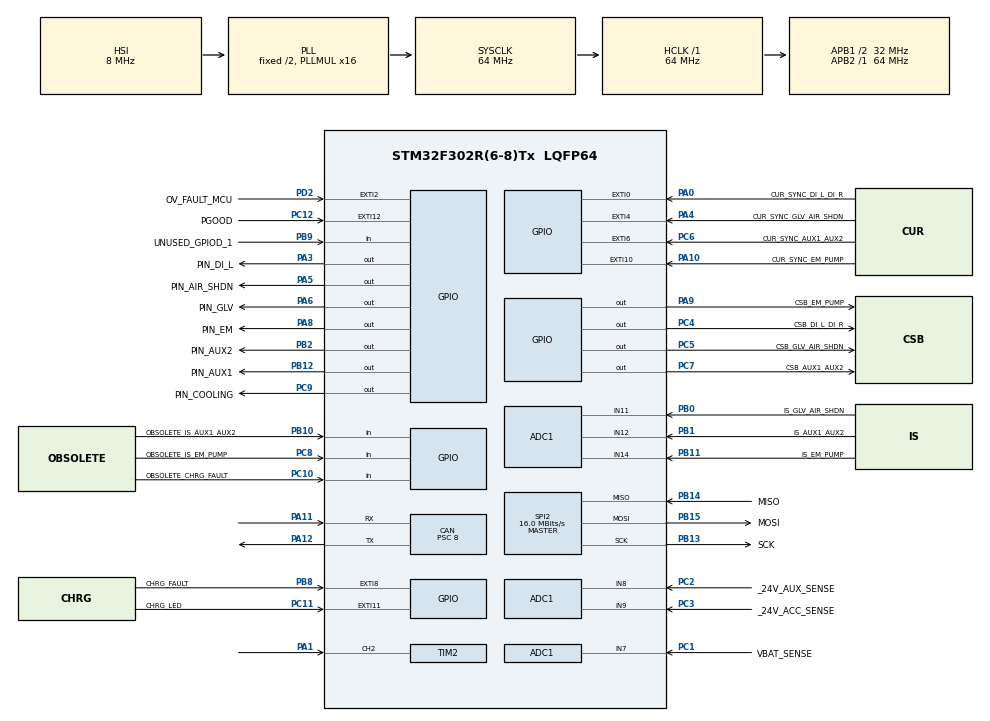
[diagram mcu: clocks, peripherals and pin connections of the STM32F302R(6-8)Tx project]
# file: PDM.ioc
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ADC1.Channel-7\#ChannelRegularConversion=ADC_CHANNEL_11
ADC1.NbrOfConversionFlag=1
ADC1.Offset-7\#ChannelRegularConversion=0
ADC1.OffsetNumber-7\#ChannelRegularConversion=ADC_OFFSET_NONE
ADC1.Rank-7\#ChannelRegularConversion=1
ADC1.SamplingTime-7\#ChannelRegularConversion=ADC_SAMPLETIME_1CYCLE_5
ADC1.SubFamily=STM32F302x8
ADC1.master=1
CAN.ABOM=ENABLE
CAN.BS1=CAN_BS1_6TQ
CAN.BS2=CAN_BS2_1TQ
CAN.CalculateTimeQuantum=250.0
CAN.NART=ENABLE
CAN.Prescaler=8
CAN.RFLM=ENABLE
CAN.SJW=CAN_SJW_4TQ
CAN.TXFP=ENABLE
FREERTOS.INCLUDE_uxTaskGetStackHighWaterMark=1
FREERTOS.INCLUDE_vTaskDelayUntil=1
FREERTOS.MEMORY_ALLOCATION=1
FREERTOS.Tasks01=Task1Hz,-2,128,RunTask1Hz,Default,NULL,Static,Task1HzBuffer,Task1HzControlBlock;Task1kHz,1,128,RunTask1kHz,Default,NULL,Static,Task1kHzBuffer,Task1kHzControlBlock;TaskCanRx,-2,128,RunTaskCanRx,Default,NULL,Static,TaskCanRxBuffer,TaskCanRxControlBlock;TaskCanTx,-2,128,RunTaskCanTx,Default,NULL,Static,TaskCanTxBuffer,TaskCanTxControlBlock
FREERTOS.configCHECK_FOR_STACK_OVERFLOW=2
FREERTOS.configUSE_MUTEXES=1
FREERTOS.configUSE_TIMERS=1
FREERTOS.configUSE_TRACE_FACILITY=1
IWDG.Reload=LSI_FREQUENCY / IWDG_PRESCALER / IWDG_RESET_FREQUENCY
IWDG.Window=IWDG_WINDOW_DISABLE_VALUE
Mcu.Family=STM32F3
Mcu.Name=STM32F302R(6-8)Tx
Mcu.Package=LQFP64
Mcu.UserConstants=IWDG_WINDOW_DISABLE_VALUE,4095;LSI_FREQUENCY,40000;IWDG_PRESCALER,4;IWDG_RESET_FREQUENCY,5;TIM2_FREQUENCY,64000000;TIM2_AUTO_RELOAD_REG,0xFFFF;TIM2_PWM_MINIMUM_FREQUENCY,1;TIM2_PRESCALER,TIM2_FREQUENCY / TIM2_AUTO_RELOAD_REG / TIM2_PWM_MINIMUM_FREQUENCY
NVIC.CAN_RX1_IRQn=true\:5\:0\:false\:false\:true\:true\:true\:true
NVIC.PriorityGroup=NVIC_PRIORITYGROUP_4
NVIC.TIM1_UP_TIM16_IRQn=true\:0\:0\:false\:false\:true\:false\:false\:true
NVIC.TIM2_IRQn=true\:5\:0\:false\:false\:true\:true\:true\:true
NVIC.TimeBase=TIM1_UP_TIM16_IRQn
NVIC.TimeBaseIP=TIM1
NVIC.USB_HP_CAN_TX_IRQn=true\:5\:0\:false\:false\:true\:true\:true\:true
NVIC.USB_LP_CAN_RX0_IRQn=true\:5\:0\:false\:false\:true\:true\:true\:true
PA0.GPIO_Label=CUR_SYNC_DI_L_DI_R
PA0.Signal=GPXTI0
PA1.Signal=S_TIM2_CH2
PA10.GPIO_Label=CUR_SYNC_EM_PUMP
PA10.Signal=GPXTI10
PA11.Mode=Master
PA11.Signal=CAN_RX
PA12.Mode=Master
PA12.Signal=CAN_TX
PA13.Mode=Trace_Asynchronous_SW
PA13.Signal=SYS_JTMS-SWDIO
PA14.Mode=Trace_Asynchronous_SW
PA14.Signal=SYS_JTCK-SWCLK
PA3.GPIO_Label=PIN_DI_L
PA3.GPIO_ModeDefaultOutputPP=GPIO_MODE_OUTPUT_OD
PA3.GPIO_PuPd=GPIO_PULLUP
PA3.Signal=GPIO_Output
PA4.GPIO_Label=CUR_SYNC_GLV_AIR_SHDN
PA4.Signal=GPXTI4
PA5.GPIO_Label=PIN_AIR_SHDN
PA5.GPIO_ModeDefaultOutputPP=GPIO_MODE_OUTPUT_OD
PA5.GPIO_PuPd=GPIO_PULLUP
PA5.Signal=GPIO_Output
PA6.GPIO_Label=PIN_GLV
PA6.GPIO_ModeDefaultOutputPP=GPIO_MODE_OUTPUT_OD
PA6.GPIO_PuPd=GPIO_PULLUP
PA6.Signal=GPIO_Output
PA8.GPIO_Label=PIN_EM
PA8.GPIO_ModeDefaultOutputPP=GPIO_MODE_OUTPUT_OD
PA8.GPIO_PuPd=GPIO_PULLUP
PA8.Signal=GPIO_Output
PA9.GPIO_Label=CSB_EM_PUMP
PA9.GPIO_PuPd=GPIO_PULLUP
PA9.PinState=GPIO_PIN_SET
PA9.Signal=GPIO_Output
PB0.GPIO_Label=IS_GLV_AIR_SHDN
PB0.Mode=IN11-Single-Ended
PB0.Signal=ADC1_IN11
PB1.GPIO_Label=IS_AUX1_AUX2
PB1.Mode=IN12-Single-Ended
PB1.Signal=ADC1_IN12
PB10.GPIO_Label=OBSOLETE_IS_AUX1_AUX2
PB10.Signal=GPIO_Input
PB11.GPIO_Label=IS_EM_PUMP
PB11.Mode=IN14-Single-Ended
PB11.Signal=ADC1_IN14
PB12.GPIO_Label=PIN_AUX1
PB12.GPIO_ModeDefaultOutputPP=GPIO_MODE_OUTPUT_OD
PB12.GPIO_PuPd=GPIO_PULLUP
PB12.Signal=GPIO_Output
PB13.GPIO_Label=SCK
PB13.Mode=Full_Duplex_Master
PB13.Signal=SPI2_SCK
PB14.GPIO_Label=MISO
PB14.Mode=Full_Duplex_Master
PB14.Signal=SPI2_MISO
PB15.GPIO_Label=MOSI
PB15.Mode=Full_Duplex_Master
PB15.Signal=SPI2_MOSI
PB2.GPIO_Label=PIN_AUX2
PB2.GPIO_ModeDefaultOutputPP=GPIO_MODE_OUTPUT_OD
PB2.GPIO_PuPd=GPIO_PULLUP
PB2.Signal=GPIO_Output
PB3.Mode=Trace_Asynchronous_SW
PB3.Signal=SYS_JTDO-TRACESWO
PB8.GPIO_Label=CHRG_FAULT
PB8.Signal=GPXTI8
PB9.GPIO_Label=UNUSED_GPIOD_1
PB9.Signal=GPIO_Input
PC1.GPIO_Label=VBAT_SENSE
PC1.Signal=ADCx_IN7
PC10.GPIO_Label=OBSOLETE_CHRG_FAULT
PC10.Signal=GPIO_Input
PC11.GPIO_Label=CHRG_LED
PC11.Signal=GPXTI11
PC12.GPIO_Label=PGOOD
PC12.Signal=GPXTI12
PC2.GPIO_Label=_24V_AUX_SENSE
PC2.Signal=ADCx_IN8
PC3.GPIO_Label=_24V_ACC_SENSE
PC3.Signal=ADCx_IN9
PC4.GPIO_Label=CSB_DI_L_DI_R
PC4.GPIO_PuPd=GPIO_PULLUP
PC4.PinState=GPIO_PIN_SET
PC4.Signal=GPIO_Output
PC5.GPIO_Label=CSB_GLV_AIR_SHDN
PC5.GPIO_PuPd=GPIO_PULLUP
PC5.PinState=GPIO_PIN_SET
PC5.Signal=GPIO_Output
PC6.GPIO_Label=CUR_SYNC_AUX1_AUX2
PC6.Signal=GPXTI6
PC7.GPIO_Label=CSB_AUX1_AUX2
PC7.GPIO_PuPd=GPIO_PULLUP
PC7.PinState=GPIO_PIN_SET
PC7.Signal=GPIO_Output
PC8.GPIO_Label=OBSOLETE_IS_EM_PUMP
PC8.Signal=GPIO_Input
PC9.GPIO_Label=PIN_COOLING
PC9.GPIO_ModeDefaultOutputPP=GPIO_MODE_OUTPUT_OD
PC9.GPIO_PuPd=GPIO_PULLUP
PC9.Signal=GPIO_Output
PD2.GPIO_Label=OV_FAULT_MCU
PD2.Signal=GPXTI2
PF0-OSC_IN.Signal=RCC_OSC_IN
PF1-OSC_OUT.Signal=RCC_OSC_OUT
ProjectManager.HeapSize=0x200
ProjectManager.StackSize=0x400
ProjectManager.TargetToolchain=SW4STM32
RCC.AHBFreq_Value=64000000
RCC.APB1CLKDivider=RCC_HCLK_DIV2
RCC.APB1Freq_Value=32000000
RCC.APB1TimFreq_Value=64000000
RCC.APB2Freq_Value=64000000
RCC.APB2TimFreq_Value=64000000
RCC.CortexFreq_Value=64000000
RCC.HCLKFreq_Value=64000000
RCC.HSE_VALUE=8000000
RCC.HSI_VALUE=8000000
RCC.LSE_VALUE=32768
RCC.PLLMUL=RCC_PLL_MUL16
RCC.SYSCLKFreq_VALUE=64000000
RCC.SYSCLKSourceVirtual=RCC_SYSCLKSOURCE_PLLCLK
RCC.USBFreq_Value=64000000
SH.ADCx_IN7.0=ADC1_IN7,IN7-Single-Ended
SH.ADCx_IN8.0=ADC1_IN8,IN8-Single-Ended
SH.ADCx_IN9.0=ADC1_IN9,IN9-Single-Ended
SH.S_TIM2_CH2.0=TIM2_CH2,TriggerSource_TI2FP2
SH.S_TIM2_CH2.1=TIM2_CH2,Input_Capture2_from_TI2
SH.S_TIM2_CH2.2=TIM2_CH2,Input_Capture1_from_TI2
SPI2.BaudRatePrescaler=SPI_BAUDRATEPRESCALER_2
SPI2.CalculateBaudRate=16.0 MBits/s
SPI2.Direction=SPI_DIRECTION_2LINES
SPI2.Mode=SPI_MODE_MASTER
SPI2.VirtualType=VM_MASTER
TIM2.Channel-Input_Capture1_from_TI2=TIM_CHANNEL_1
TIM2.Channel-Input_Capture2_from_TI2=TIM_CHANNEL_2
TIM2.ICPolarity_CH1=TIM_INPUTCHANNELPOLARITY_FALLING
TIM2.Period=TIM2_AUTO_RELOAD_REG
TIM2.Prescaler=TIM2_PRESCALER
VP_FREERTOS_VS_CMSIS_V1.Mode=CMSIS_V1
VP_IWDG_VS_IWDG.Mode=IWDG_Activate
VP_SYS_VS_tim1.Mode=TIM1
VP_TIM2_VS_ControllerModeReset.Mode=Reset Mode
board=custom

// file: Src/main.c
/* USER CODE BEGIN Header */
/**
 ******************************************************************************
 * @file           : main.c
 * @brief          : Main program body
 ******************************************************************************
 * @attention
 *
 * <h2><center>&copy; Copyright (c) 2019 STMicroelectronics.
 * All rights reserved.</center></h2>
 *
 * This software component is licensed by ST under Ultimate Liberty license
 * SLA0044, the "License"; You may not use this file except in compliance with
 * the License. You may obtain a copy of the License at:
 *                             www.st.com/SLA0044
 *
 ******************************************************************************
 */
/* USER CODE END Header */

#include "main.h"
#include "cmsis_os.h"

/* USER CODE BEGIN Includes */
#include "SharedWatchdog.h"
#include "SharedConstants.h"
#include "SharedCmsisOs.h"
#include "SharedCan.h"
#include "SharedHeartbeat.h"
#include "SharedHardFaultHandler.h"
#include "SharedAssert.h"
#include "boards/shared/PwmInput/SharedPwmInput.h"
#include "App_Imd.h"
#include "auto_generated/App_CanTx.h"
#include "auto_generated/App_CanRx.h"
#include "Io_Can.h"
/* USER CODE END Includes */

ADC_HandleTypeDef hadc1;

CAN_HandleTypeDef hcan;

IWDG_HandleTypeDef hiwdg;

SPI_HandleTypeDef hspi2;

TIM_HandleTypeDef htim2;

osThreadId          Task1HzHandle;
uint32_t            Task1HzBuffer[128];
osStaticThreadDef_t Task1HzControlBlock;
osThreadId          Task1kHzHandle;
uint32_t            Task1kHzBuffer[128];
osStaticThreadDef_t Task1kHzControlBlock;
osThreadId          TaskCanRxHandle;
uint32_t            TaskCanRxBuffer[128];
osStaticThreadDef_t TaskCanRxControlBlock;
osThreadId          TaskCanTxHandle;
uint32_t            TaskCanTxBuffer[128];
osStaticThreadDef_t TaskCanTxControlBlock;

void        SystemClock_Config(void);
static void MX_GPIO_Init(void);
static void MX_CAN_Init(void);
static void MX_SPI2_Init(void);
static void MX_ADC1_Init(void);
static void MX_IWDG_Init(void);
static void MX_TIM2_Init(void);
void        RunTask1Hz(void const *argument);
void        RunTask1kHz(void const *argument);
void        RunTaskCanRx(void const *argument);
void        RunTaskCanTx(void const *argument);

int main(void)
{
    /* USER CODE BEGIN 1 */
    __HAL_DBGMCU_FREEZE_IWDG();
    SharedHardFaultHandler_Init();
    App_CanTx_Init();
    App_CanRx_Init();
    /* USER CODE END 1 */

    /* MCU
     * Configuration--------------------------------------------------------*/

    /* Reset of all peripherals, Initializes the Flash interface and the
     * Systick. */
    HAL_Init();

    /* Configure the system clock */
    SystemClock_Config();

    /* Initialize all configured peripherals */
    MX_GPIO_Init();
    MX_CAN_Init();
    MX_SPI2_Init();
    MX_ADC1_Init();
    MX_IWDG_Init();
    MX_TIM2_Init();
    /* USER CODE BEGIN 2 */
    Imd_Init();
    /* USER CODE END 2 */

    /* Create the thread(s) */
    /* definition and creation of Task1Hz */
    osThreadStaticDef(
        Task1Hz, RunTask1Hz, osPriorityLow, 0, 128, Task1HzBuffer,
        &Task1HzControlBlock);
    Task1HzHandle = osThreadCreate(osThread(Task1Hz), NULL);

    /* definition and creation of Task1kHz */
    osThreadStaticDef(
        Task1kHz, RunTask1kHz, osPriorityAboveNormal, 0, 128, Task1kHzBuffer,
        &Task1kHzControlBlock);
    Task1kHzHandle = osThreadCreate(osThread(Task1kHz), NULL);

    /* definition and creation of TaskCanRx */
    osThreadStaticDef(
        TaskCanRx, RunTaskCanRx, osPriorityLow, 0, 128, TaskCanRxBuffer,
        &TaskCanRxControlBlock);
    TaskCanRxHandle = osThreadCreate(osThread(TaskCanRx), NULL);

    /* definition and creation of TaskCanTx */
    osThreadStaticDef(
        TaskCanTx, RunTaskCanTx, osPriorityLow, 0, 128, TaskCanTxBuffer,
        &TaskCanTxControlBlock);
    TaskCanTxHandle = osThreadCreate(osThread(TaskCanTx), NULL);

    /* USER CODE BEGIN RTOS_THREADS */
    /* add threads, ... */
    // According to Percpio documentation, vTraceEnable() should be the last
    // function call before the scheduler starts.
#if (configUSE_TRACE_FACILITY == 1)
    vTraceEnable(TRC_INIT);
#endif
    /* USER CODE END RTOS_THREADS */

    /* Start scheduler */
    osKernelStart();

    /* We should never get here as control is now taken by the scheduler */

    /* Infinite loop */
    while (1)
    {

    }
}

void SystemClock_Config(void)
{
    RCC_OscInitTypeDef       RCC_OscInitStruct = { 0 };
    RCC_ClkInitTypeDef       RCC_ClkInitStruct = { 0 };
    RCC_PeriphCLKInitTypeDef PeriphClkInit     = { 0 };

    /** Initializes the CPU, AHB and APB busses clocks
     */
    RCC_OscInitStruct.OscillatorType =
        RCC_OSCILLATORTYPE_HSI | RCC_OSCILLATORTYPE_LSI;
    RCC_OscInitStruct.HSIState            = RCC_HSI_ON;
    RCC_OscInitStruct.HSICalibrationValue = RCC_HSICALIBRATION_DEFAULT;
    RCC_OscInitStruct.LSIState            = RCC_LSI_ON;
    RCC_OscInitStruct.PLL.PLLState        = RCC_PLL_ON;
    RCC_OscInitStruct.PLL.PLLSource       = RCC_PLLSOURCE_HSI;
    RCC_OscInitStruct.PLL.PLLMUL          = RCC_PLL_MUL16;
    if (HAL_RCC_OscConfig(&RCC_OscInitStruct) != HAL_OK)
    {
        Error_Handler();
    }
    /** Initializes the CPU, AHB and APB busses clocks
     */
    RCC_ClkInitStruct.ClockType = RCC_CLOCKTYPE_HCLK | RCC_CLOCKTYPE_SYSCLK |
                                  RCC_CLOCKTYPE_PCLK1 | RCC_CLOCKTYPE_PCLK2;
    RCC_ClkInitStruct.SYSCLKSource   = RCC_SYSCLKSOURCE_PLLCLK;
    RCC_ClkInitStruct.AHBCLKDivider  = RCC_SYSCLK_DIV1;
    RCC_ClkInitStruct.APB1CLKDivider = RCC_HCLK_DIV2;
    RCC_ClkInitStruct.APB2CLKDivider = RCC_HCLK_DIV1;

    if (HAL_RCC_ClockConfig(&RCC_ClkInitStruct, FLASH_LATENCY_2) != HAL_OK)
    {
        Error_Handler();
    }
    PeriphClkInit.PeriphClockSelection = RCC_PERIPHCLK_ADC1;
    PeriphClkInit.Adc1ClockSelection   = RCC_ADC1PLLCLK_DIV1;

    if (HAL_RCCEx_PeriphCLKConfig(&PeriphClkInit) != HAL_OK)
    {
        Error_Handler();
    }
}

static void MX_ADC1_Init(void)
{

    ADC_ChannelConfTypeDef sConfig = { 0 };

    /** Common config
     */
    hadc1.Instance                   = ADC1;
    hadc1.Init.ClockPrescaler        = ADC_CLOCK_ASYNC_DIV1;
    hadc1.Init.Resolution            = ADC_RESOLUTION_12B;
    hadc1.Init.ScanConvMode          = ADC_SCAN_DISABLE;
    hadc1.Init.ContinuousConvMode    = DISABLE;
    hadc1.Init.DiscontinuousConvMode = DISABLE;
    hadc1.Init.ExternalTrigConvEdge  = ADC_EXTERNALTRIGCONVEDGE_NONE;
    hadc1.Init.ExternalTrigConv      = ADC_SOFTWARE_START;
    hadc1.Init.DataAlign             = ADC_DATAALIGN_RIGHT;
    hadc1.Init.NbrOfConversion       = 1;
    hadc1.Init.DMAContinuousRequests = DISABLE;
    hadc1.Init.EOCSelection          = ADC_EOC_SINGLE_CONV;
    hadc1.Init.LowPowerAutoWait      = DISABLE;
    hadc1.Init.Overrun               = ADC_OVR_DATA_OVERWRITTEN;
    if (HAL_ADC_Init(&hadc1) != HAL_OK)
    {
        Error_Handler();
    }
    /** Configure Regular Channel
     */
    sConfig.Channel      = ADC_CHANNEL_11;
    sConfig.Rank         = ADC_REGULAR_RANK_1;
    sConfig.SingleDiff   = ADC_SINGLE_ENDED;
    sConfig.SamplingTime = ADC_SAMPLETIME_1CYCLE_5;
    sConfig.OffsetNumber = ADC_OFFSET_NONE;
    sConfig.Offset       = 0;
    if (HAL_ADC_ConfigChannel(&hadc1, &sConfig) != HAL_OK)
    {
        Error_Handler();
    }
}

static void MX_CAN_Init(void)
{

    hcan.Instance                  = CAN;
    hcan.Init.Prescaler            = 8;
    hcan.Init.Mode                 = CAN_MODE_NORMAL;
    hcan.Init.SyncJumpWidth        = CAN_SJW_4TQ;
    hcan.Init.TimeSeg1             = CAN_BS1_6TQ;
    hcan.Init.TimeSeg2             = CAN_BS2_1TQ;
    hcan.Init.TimeTriggeredMode    = DISABLE;
    hcan.Init.AutoBusOff           = ENABLE;
    hcan.Init.AutoWakeUp           = DISABLE;
    hcan.Init.AutoRetransmission   = ENABLE;
    hcan.Init.ReceiveFifoLocked    = ENABLE;
    hcan.Init.TransmitFifoPriority = ENABLE;
    if (HAL_CAN_Init(&hcan) != HAL_OK)
    {
        Error_Handler();
    }
    /* USER CODE BEGIN CAN_Init 2 */
    SharedCan_Init(
        &hcan, Io_Can_GetCanMaskFilters(), Io_Can_GetNumberOfCanMaskFilters());
    /* USER CODE END CAN_Init 2 */
}

static void MX_IWDG_Init(void)
{

    hiwdg.Instance       = IWDG;
    hiwdg.Init.Prescaler = IWDG_PRESCALER_4;
    hiwdg.Init.Window    = IWDG_WINDOW_DISABLE_VALUE;
    hiwdg.Init.Reload = LSI_FREQUENCY / IWDG_PRESCALER / IWDG_RESET_FREQUENCY;
    if (HAL_IWDG_Init(&hiwdg) != HAL_OK)
    {
        Error_Handler();
    }
    /* USER CODE BEGIN IWDG_Init 2 */
    SharedWatchdog_SetIwdgInitialized(&hiwdg);
    /* USER CODE END IWDG_Init 2 */
}

static void MX_SPI2_Init(void)
{

    /* SPI2 parameter configuration*/
    hspi2.Instance               = SPI2;
    hspi2.Init.Mode              = SPI_MODE_MASTER;
    hspi2.Init.Direction         = SPI_DIRECTION_2LINES;
    hspi2.Init.DataSize          = SPI_DATASIZE_4BIT;
    hspi2.Init.CLKPolarity       = SPI_POLARITY_LOW;
    hspi2.Init.CLKPhase          = SPI_PHASE_1EDGE;
    hspi2.Init.NSS               = SPI_NSS_SOFT;
    hspi2.Init.BaudRatePrescaler = SPI_BAUDRATEPRESCALER_2;
    hspi2.Init.FirstBit          = SPI_FIRSTBIT_MSB;
    hspi2.Init.TIMode            = SPI_TIMODE_DISABLE;
    hspi2.Init.CRCCalculation    = SPI_CRCCALCULATION_DISABLE;
    hspi2.Init.CRCPolynomial     = 7;
    hspi2.Init.CRCLength         = SPI_CRC_LENGTH_DATASIZE;
    hspi2.Init.NSSPMode          = SPI_NSS_PULSE_ENABLE;
    if (HAL_SPI_Init(&hspi2) != HAL_OK)
    {
        Error_Handler();
    }
}

static void MX_TIM2_Init(void)
{

    TIM_SlaveConfigTypeDef  sSlaveConfig  = { 0 };
    TIM_MasterConfigTypeDef sMasterConfig = { 0 };
    TIM_IC_InitTypeDef      sConfigIC     = { 0 };

    htim2.Instance               = TIM2;
    htim2.Init.Prescaler         = TIM2_PRESCALER;
    htim2.Init.CounterMode       = TIM_COUNTERMODE_UP;
    htim2.Init.Period            = TIM2_AUTO_RELOAD_REG;
    htim2.Init.ClockDivision     = TIM_CLOCKDIVISION_DIV1;
    htim2.Init.AutoReloadPreload = TIM_AUTORELOAD_PRELOAD_DISABLE;
    if (HAL_TIM_Base_Init(&htim2) != HAL_OK)
    {
        Error_Handler();
    }
    if (HAL_TIM_IC_Init(&htim2) != HAL_OK)
    {
        Error_Handler();
    }
    sSlaveConfig.SlaveMode       = TIM_SLAVEMODE_RESET;
    sSlaveConfig.InputTrigger    = TIM_TS_TI2FP2;
    sSlaveConfig.TriggerPolarity = TIM_INPUTCHANNELPOLARITY_RISING;
    sSlaveConfig.TriggerFilter   = 0;
    if (HAL_TIM_SlaveConfigSynchronization(&htim2, &sSlaveConfig) != HAL_OK)
    {
        Error_Handler();
    }
    sMasterConfig.MasterOutputTrigger = TIM_TRGO_RESET;
    sMasterConfig.MasterSlaveMode     = TIM_MASTERSLAVEMODE_DISABLE;
    if (HAL_TIMEx_MasterConfigSynchronization(&htim2, &sMasterConfig) != HAL_OK)
    {
        Error_Handler();
    }
    sConfigIC.ICPolarity  = TIM_INPUTCHANNELPOLARITY_FALLING;
    sConfigIC.ICSelection = TIM_ICSELECTION_INDIRECTTI;
    sConfigIC.ICPrescaler = TIM_ICPSC_DIV1;
    sConfigIC.ICFilter    = 0;
    if (HAL_TIM_IC_ConfigChannel(&htim2, &sConfigIC, TIM_CHANNEL_1) != HAL_OK)
    {
        Error_Handler();
    }
    sConfigIC.ICPolarity  = TIM_INPUTCHANNELPOLARITY_RISING;
    sConfigIC.ICSelection = TIM_ICSELECTION_DIRECTTI;
    if (HAL_TIM_IC_ConfigChannel(&htim2, &sConfigIC, TIM_CHANNEL_2) != HAL_OK)
    {
        Error_Handler();
    }
}

static void MX_GPIO_Init(void)
{
    GPIO_InitTypeDef GPIO_InitStruct = { 0 };

    /* GPIO Ports Clock Enable */
    __HAL_RCC_GPIOC_CLK_ENABLE();
    __HAL_RCC_GPIOF_CLK_ENABLE();
    __HAL_RCC_GPIOA_CLK_ENABLE();
    __HAL_RCC_GPIOB_CLK_ENABLE();
    __HAL_RCC_GPIOD_CLK_ENABLE();

    /*Configure GPIO pin Output Level */
    HAL_GPIO_WritePin(
        GPIOA, PIN_DI_L_Pin | PIN_AIR_SHDN_Pin | PIN_GLV_Pin | PIN_EM_Pin,
        GPIO_PIN_RESET);

    /*Configure GPIO pin Output Level */
    HAL_GPIO_WritePin(
        GPIOC, CSB_DI_L_DI_R_Pin | CSB_GLV_AIR_SHDN_Pin | CSB_AUX1_AUX2_Pin,
        GPIO_PIN_SET);

    /*Configure GPIO pin Output Level */
    HAL_GPIO_WritePin(GPIOB, PIN_AUX2_Pin | PIN_AUX1_Pin, GPIO_PIN_RESET);

    /*Configure GPIO pin Output Level */
    HAL_GPIO_WritePin(PIN_COOLING_GPIO_Port, PIN_COOLING_Pin, GPIO_PIN_RESET);

    /*Configure GPIO pin Output Level */
    HAL_GPIO_WritePin(CSB_EM_PUMP_GPIO_Port, CSB_EM_PUMP_Pin, GPIO_PIN_SET);

    /*Configure GPIO pins : PC13 PC14 PC15 PC0 */
    GPIO_InitStruct.Pin  = GPIO_PIN_13 | GPIO_PIN_14 | GPIO_PIN_15 | GPIO_PIN_0;
    GPIO_InitStruct.Mode = GPIO_MODE_ANALOG;
    GPIO_InitStruct.Pull = GPIO_NOPULL;
    HAL_GPIO_Init(GPIOC, &GPIO_InitStruct);

    /*Configure GPIO pins : CUR_SYNC_DI_L_DI_R_Pin CUR_SYNC_GLV_AIR_SHDN_Pin
     * CUR_SYNC_EM_PUMP_Pin */
    GPIO_InitStruct.Pin = CUR_SYNC_DI_L_DI_R_Pin | CUR_SYNC_GLV_AIR_SHDN_Pin |
                          CUR_SYNC_EM_PUMP_Pin;
    GPIO_InitStruct.Mode = GPIO_MODE_IT_RISING;
    GPIO_InitStruct.Pull = GPIO_NOPULL;
    HAL_GPIO_Init(GPIOA, &GPIO_InitStruct);

    /*Configure GPIO pins : PA2 PA7 PA15 */
    GPIO_InitStruct.Pin  = GPIO_PIN_2 | GPIO_PIN_7 | GPIO_PIN_15;
    GPIO_InitStruct.Mode = GPIO_MODE_ANALOG;
    GPIO_InitStruct.Pull = GPIO_NOPULL;
    HAL_GPIO_Init(GPIOA, &GPIO_InitStruct);

    /*Configure GPIO pins : PIN_DI_L_Pin PIN_AIR_SHDN_Pin PIN_GLV_Pin PIN_EM_Pin
     */
    GPIO_InitStruct.Pin =
        PIN_DI_L_Pin | PIN_AIR_SHDN_Pin | PIN_GLV_Pin | PIN_EM_Pin;
    GPIO_InitStruct.Mode  = GPIO_MODE_OUTPUT_OD;
    GPIO_InitStruct.Pull  = GPIO_PULLUP;
    GPIO_InitStruct.Speed = GPIO_SPEED_FREQ_LOW;
    HAL_GPIO_Init(GPIOA, &GPIO_InitStruct);

    /*Configure GPIO pins : CSB_DI_L_DI_R_Pin CSB_GLV_AIR_SHDN_Pin
     * CSB_AUX1_AUX2_Pin */
    GPIO_InitStruct.Pin =
        CSB_DI_L_DI_R_Pin | CSB_GLV_AIR_SHDN_Pin | CSB_AUX1_AUX2_Pin;
    GPIO_InitStruct.Mode  = GPIO_MODE_OUTPUT_PP;
    GPIO_InitStruct.Pull  = GPIO_PULLUP;
    GPIO_InitStruct.Speed = GPIO_SPEED_FREQ_LOW;
    HAL_GPIO_Init(GPIOC, &GPIO_InitStruct);

    /*Configure GPIO pins : PIN_AUX2_Pin PIN_AUX1_Pin */
    GPIO_InitStruct.Pin   = PIN_AUX2_Pin | PIN_AUX1_Pin;
    GPIO_InitStruct.Mode  = GPIO_MODE_OUTPUT_OD;
    GPIO_InitStruct.Pull  = GPIO_PULLUP;
    GPIO_InitStruct.Speed = GPIO_SPEED_FREQ_LOW;
    HAL_GPIO_Init(GPIOB, &GPIO_InitStruct);

    /*Configure GPIO pins : OBSOLETE_IS_AUX1_AUX2_Pin UNUSED_GPIOD_1_Pin */
    GPIO_InitStruct.Pin  = OBSOLETE_IS_AUX1_AUX2_Pin | UNUSED_GPIOD_1_Pin;
    GPIO_InitStruct.Mode = GPIO_MODE_INPUT;
    GPIO_InitStruct.Pull = GPIO_NOPULL;
    HAL_GPIO_Init(GPIOB, &GPIO_InitStruct);

    /*Configure GPIO pins : CUR_SYNC_AUX1_AUX2_Pin CHRG_LED_Pin PGOOD_Pin */
    GPIO_InitStruct.Pin  = CUR_SYNC_AUX1_AUX2_Pin | CHRG_LED_Pin | PGOOD_Pin;
    GPIO_InitStruct.Mode = GPIO_MODE_IT_RISING;
    GPIO_InitStruct.Pull = GPIO_NOPULL;
    HAL_GPIO_Init(GPIOC, &GPIO_InitStruct);

    /*Configure GPIO pins : OBSOLETE_IS_EM_PUMP_Pin OBSOLETE_CHRG_FAULT_Pin */
    GPIO_InitStruct.Pin  = OBSOLETE_IS_EM_PUMP_Pin | OBSOLETE_CHRG_FAULT_Pin;
    GPIO_InitStruct.Mode = GPIO_MODE_INPUT;
    GPIO_InitStruct.Pull = GPIO_NOPULL;
    HAL_GPIO_Init(GPIOC, &GPIO_InitStruct);

    /*Configure GPIO pin : PIN_COOLING_Pin */
    GPIO_InitStruct.Pin   = PIN_COOLING_Pin;
    GPIO_InitStruct.Mode  = GPIO_MODE_OUTPUT_OD;
    GPIO_InitStruct.Pull  = GPIO_PULLUP;
    GPIO_InitStruct.Speed = GPIO_SPEED_FREQ_LOW;
    HAL_GPIO_Init(PIN_COOLING_GPIO_Port, &GPIO_InitStruct);

    /*Configure GPIO pin : CSB_EM_PUMP_Pin */
    GPIO_InitStruct.Pin   = CSB_EM_PUMP_Pin;
    GPIO_InitStruct.Mode  = GPIO_MODE_OUTPUT_PP;
    GPIO_InitStruct.Pull  = GPIO_PULLUP;
    GPIO_InitStruct.Speed = GPIO_SPEED_FREQ_LOW;
    HAL_GPIO_Init(CSB_EM_PUMP_GPIO_Port, &GPIO_InitStruct);

    /*Configure GPIO pin : OV_FAULT_MCU_Pin */
    GPIO_InitStruct.Pin  = OV_FAULT_MCU_Pin;
    GPIO_InitStruct.Mode = GPIO_MODE_IT_RISING;
    GPIO_InitStruct.Pull = GPIO_NOPULL;
    HAL_GPIO_Init(OV_FAULT_MCU_GPIO_Port, &GPIO_InitStruct);

    /*Configure GPIO pins : PB4 PB5 PB6 PB7 */
    GPIO_InitStruct.Pin  = GPIO_PIN_4 | GPIO_PIN_5 | GPIO_PIN_6 | GPIO_PIN_7;
    GPIO_InitStruct.Mode = GPIO_MODE_ANALOG;
    GPIO_InitStruct.Pull = GPIO_NOPULL;
    HAL_GPIO_Init(GPIOB, &GPIO_InitStruct);

    /*Configure GPIO pin : CHRG_FAULT_Pin */
    GPIO_InitStruct.Pin  = CHRG_FAULT_Pin;
    GPIO_InitStruct.Mode = GPIO_MODE_IT_RISING;
    GPIO_InitStruct.Pull = GPIO_NOPULL;
    HAL_GPIO_Init(CHRG_FAULT_GPIO_Port, &GPIO_InitStruct);
}

void RunTask1Hz(void const *argument)
{
    /* USER CODE BEGIN 5 */
    UNUSED(argument);
    uint32_t PreviousWakeTime = osKernelSysTick();

    for (;;)
    {
        (void)SharedCmsisOs_osDelayUntilMs(&PreviousWakeTime, 1000U);
    }
    /* USER CODE END 5 */
}

void RunTask1kHz(void const *argument)
{
    /* USER CODE BEGIN RunTask1kHz */
    UNUSED(argument);
    uint32_t PreviousWakeTime = osKernelSysTick();

    for (;;)
    {
        App_CanTx_TransmitPeriodicMessages();
        // TODO (#361) :Implement proper watchdog check-in mechanism
        SharedWatchdog_RefreshIwdg();
        (void)SharedCmsisOs_osDelayUntilMs(&PreviousWakeTime, 1U);
    }
    /* USER CODE END RunTask1kHz */
}

void RunTaskCanRx(void const *argument)
{
    /* USER CODE BEGIN RunTaskCanRx */
    UNUSED(argument);

    for (;;)
    {
        App_SharedCan_ReadRxMessagesIntoTableFromTask();
    }
    /* USER CODE END RunTaskCanRx */
}

void RunTaskCanTx(void const *argument)
{
    /* USER CODE BEGIN RunTaskCanTx */
    UNUSED(argument);

    for (;;)
    {
        App_SharedCan_TransmitEnqueuedCanTxMessagesFromTask();
    }
    /* USER CODE END RunTaskCanTx */
}

void HAL_TIM_PeriodElapsedCallback(TIM_HandleTypeDef *htim)
{
    if (htim->Instance == TIM1)
    {
        HAL_IncTick();
    }
}

void Error_Handler(void)
{
    /* USER CODE BEGIN Error_Handler_Debug */
    SharedAssert_AssertFailed(file, line, NULL);
    /* USER CODE END Error_Handler_Debug */
}

#ifdef USE_FULL_ASSERT
/**
 * @brief  Reports the name of the source file and the source line number
 *         where the assert_param error has occurred.
 * @param  file: pointer to the source file name
 * @param  line: assert_param error line source number
 * @retval None
 */
void assert_failed(char *file, uint32_t line)
{
    /* USER CODE BEGIN 6 */
    SharedAssert_AssertFailed(file, line, NULL);
    /* USER CODE END 6 */
}
#endif /* USE_FULL_ASSERT */

/************************ (C) COPYRIGHT STMicroelectronics *****END OF FILE****/

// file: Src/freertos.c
/* USER CODE BEGIN Header */
/**
 ******************************************************************************
 * File Name          : freertos.c
 * Description        : Code for freertos applications
 ******************************************************************************
 * @attention
 *
 * <h2><center>&copy; Copyright (c) 2019 STMicroelectronics.
 * All rights reserved.</center></h2>
 *
 * This software component is licensed by ST under Ultimate Liberty license
 * SLA0044, the "License"; You may not use this file except in compliance with
 * the License. You may obtain a copy of the License at:
 *                             www.st.com/SLA0044
 *
 ******************************************************************************
 */
/* USER CODE END Header */

#include "FreeRTOS.h"
#include "task.h"
#include "main.h"

/* GetIdleTaskMemory prototype (linked to static allocation support) */
void vApplicationGetIdleTaskMemory(
    StaticTask_t **ppxIdleTaskTCBBuffer,
    StackType_t ** ppxIdleTaskStackBuffer,
    uint32_t *     pulIdleTaskStackSize);

/* GetTimerTaskMemory prototype (linked to static allocation support) */
void vApplicationGetTimerTaskMemory(
    StaticTask_t **ppxTimerTaskTCBBuffer,
    StackType_t ** ppxTimerTaskStackBuffer,
    uint32_t *     pulTimerTaskStackSize);

/* Hook prototypes */
void vApplicationStackOverflowHook(xTaskHandle xTask, signed char *pcTaskName);

/* USER CODE BEGIN 4 */
__weak void
    vApplicationStackOverflowHook(xTaskHandle xTask, signed char *pcTaskName)
{
    /* Run time stack overflow checking is performed if
    configCHECK_FOR_STACK_OVERFLOW is defined to 1 or 2. This hook function is
    called if a stack overflow is detected. */
    UNUSED(xTask);
    UNUSED(pcTaskName);
}
/* USER CODE END 4 */

/* USER CODE BEGIN GET_IDLE_TASK_MEMORY */
static StaticTask_t xIdleTaskTCBBuffer;
static StackType_t  xIdleStack[configMINIMAL_STACK_SIZE];

void vApplicationGetIdleTaskMemory(
    StaticTask_t **ppxIdleTaskTCBBuffer,
    StackType_t ** ppxIdleTaskStackBuffer,
    uint32_t *     pulIdleTaskStackSize)
{
    *ppxIdleTaskTCBBuffer   = &xIdleTaskTCBBuffer;
    *ppxIdleTaskStackBuffer = &xIdleStack[0];
    *pulIdleTaskStackSize   = configMINIMAL_STACK_SIZE;
    /* place for user code */
}
/* USER CODE END GET_IDLE_TASK_MEMORY */

/* USER CODE BEGIN GET_TIMER_TASK_MEMORY */
static StaticTask_t xTimerTaskTCBBuffer;
static StackType_t  xTimerStack[configTIMER_TASK_STACK_DEPTH];

void vApplicationGetTimerTaskMemory(
    StaticTask_t **ppxTimerTaskTCBBuffer,
    StackType_t ** ppxTimerTaskStackBuffer,
    uint32_t *     pulTimerTaskStackSize)
{
    *ppxTimerTaskTCBBuffer   = &xTimerTaskTCBBuffer;
    *ppxTimerTaskStackBuffer = &xTimerStack[0];
    *pulTimerTaskStackSize   = configTIMER_TASK_STACK_DEPTH;
    /* place for user code */
}
/* USER CODE END GET_TIMER_TASK_MEMORY */

/************************ (C) COPYRIGHT STMicroelectronics *****END OF FILE****/
